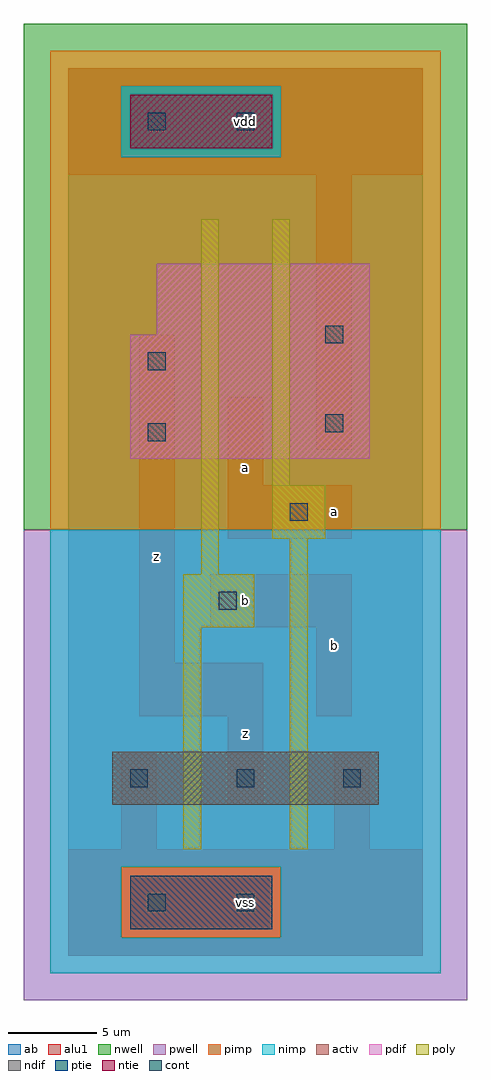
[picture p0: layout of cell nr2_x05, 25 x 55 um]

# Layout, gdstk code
import gdstk
lib = gdstk.Library(unit=1e-6, precision=1e-09)
def R(c, l, rs):  # rectangles x0, y0, x1, y1
    for r in rs: c.add(gdstk.rectangle(r[:2], r[2:], *l))
def A(c, l, x, y, w, h, nx, ny, dx, dy):  # array of equal rectangles
    R(c, l, [(x+i*dx, y+j*dy, x+i*dx+w, y+j*dy+h) for i in range(nx) for j in range(ny)])
ndif = (3, 0)
pdif = (4, 0)
ntie = (5, 0)
ptie = (6, 0)
cont = (25, 0)
pwell = (41, 0)
nwell = (42, 0)
activ = (43, 0)
pimp = (44, 0)
nimp = (45, 0)
poly = (46, 0)
alu1 = (49, 0)
ab = (63, 0)

nr2_x05 = lib.new_cell('nr2_x05')
R(nr2_x05, ndif, [(2.5,8.5,17.5,11.5)])
R(nr2_x05, pdif, [(3.5,28,17,35), (5,35,17,39)])
R(nr2_x05, ntie, [(3.5,45.5,11.5,48.5)])
R(nr2_x05, ptie, [(3.5,1.5,11.5,4.5)])
A(nr2_x05, cont, 3.5, 9.5, 1, 1, 3, 1, 6, 0)
R(nr2_x05, cont, [(4.5,2.5,5.5,3.5), (9.5,2.5,10.5,3.5), (8.5,19.5,9.5,20.5), (12.5,24.5,13.5,25.5), (4.5,29,5.5,30), (14.5,29.5,15.5,30.5), (4.5,33,5.5,34), (14.5,34.5,15.5,35.5), (4.5,46.5,5.5,47.5), (9.5,46.5,10.5,47.5)])
R(nr2_x05, pwell, [(-2.5,-2.5,22.5,24)])
R(nr2_x05, nwell, [(-2.5,24,22.5,52.5)])
R(nr2_x05, activ, [(3.5,1.5,11.5,4.5), (2.5,8.5,17.5,11.5), (3.5,28,17,35), (5,35,17,39), (3.5,45.5,11.5,48.5)])
R(nr2_x05, pimp, [(3,1,12,5), (-1,24,21,45), (-1,45,3,49), (12,45,21,49), (-1,49,21,51)])
R(nr2_x05, nimp, [(-1,-1,21,1), (-1,1,3,5), (12,1,21,5), (-1,5,21,24), (3,45,12,49)])
R(nr2_x05, poly, [(6.5,6,7.5,18.5), (12.5,6,13.5,23.5), (6.5,18.5,10.5,21.5), (7.5,21.5,8.5,41.5), (11.5,23.5,14.5,26.5), (11.5,26.5,12.5,41.5)])
R(nr2_x05, alu1, [(0,0,20,6), (0,0,20,6), (3,6,5,11.5), (3,6,5,11.5), (15,6,17,11.5), (15,6,17,11.5), (9,8.5,11,13.5), (9,8.5,11,13.5), (4,13.5,11,16.5), (4,13.5,11,16.5), (14,13.5,16,18.5), (14,13.5,16,18.5), (4,16.5,6,35), (4,16.5,6,35), (8,18.5,16,21.5), (8,18.5,16,21.5), (9,23.5,16,26.5), (9,23.5,16,26.5), (9,26.5,11,31.5), (9,26.5,11,31.5), (14,28.5,16,44), (14,28.5,16,44), (0,44,20,50), (0,44,20,50)])
R(nr2_x05, ab, [(0,0,20,50)])
nr2_x05.add(gdstk.Label('z', (5,22.5), layer=49, texttype=0))
nr2_x05.add(gdstk.Label('vss', (10,3), layer=49, texttype=0))
nr2_x05.add(gdstk.Label('z', (10,12.5), layer=49, texttype=0))
nr2_x05.add(gdstk.Label('b', (10,20), layer=49, texttype=0))
nr2_x05.add(gdstk.Label('a', (10,27.5), layer=49, texttype=0))
nr2_x05.add(gdstk.Label('vdd', (10,47), layer=49, texttype=0))
nr2_x05.add(gdstk.Label('b', (15,17.5), layer=49, texttype=0))
nr2_x05.add(gdstk.Label('a', (15,25), layer=49, texttype=0))

lib.write_gds('nr2_x05.gds')
